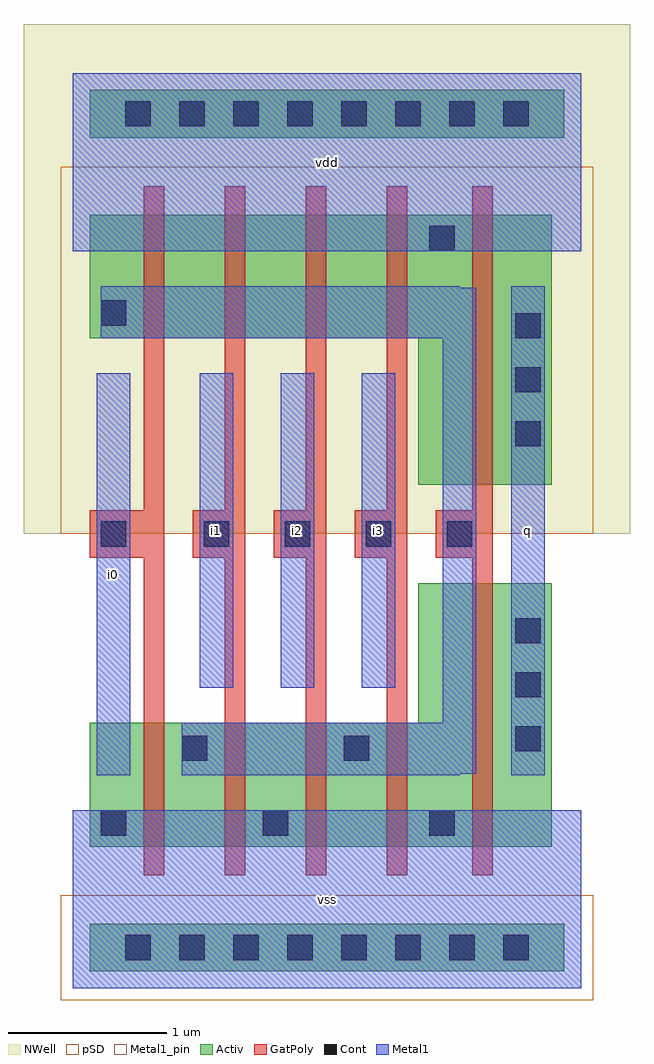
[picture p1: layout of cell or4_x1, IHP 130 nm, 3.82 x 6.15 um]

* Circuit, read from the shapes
.subckt or4_x1 i0 i1 i2 i3 q vdd vss
XM1 n1 i0 vss vss sg13_lv_nmos w=0.78u l=0.13u
XM2 vss i1 n1 vss sg13_lv_nmos w=0.78u l=0.13u
XM3 n1 i2 vss vss sg13_lv_nmos w=0.78u l=0.13u
XM4 vss i3 n1 vss sg13_lv_nmos w=0.78u l=0.13u
XM5 q n1 vss vss sg13_lv_nmos w=1.66u l=0.13u
XM6 n2 i0 n1 vdd sg13_lv_pmos w=0.78u l=0.13u
XM7 n3 i1 n2 vdd sg13_lv_pmos w=0.78u l=0.13u
XM8 n4 i2 n3 vdd sg13_lv_pmos w=0.78u l=0.13u
XM9 vdd i3 n4 vdd sg13_lv_pmos w=0.78u l=0.13u
XM10 q n1 vdd vdd sg13_lv_pmos w=1.7u l=0.13u
.ends

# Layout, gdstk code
import gdstk
lib = gdstk.Library(unit=1e-6, precision=1e-09)
def R(c, l, rs):  # rectangles x0, y0, x1, y1
    for r in rs: c.add(gdstk.rectangle(r[:2], r[2:], *l))
def A(c, l, x, y, w, h, nx, ny, dx, dy):  # array of equal rectangles
    R(c, l, [(x+i*dx, y+j*dy, x+i*dx+w, y+j*dy+h) for i in range(nx) for j in range(ny)])
def P(c, l, *ps):  # polygons
    for p in ps: c.add(gdstk.Polygon(p, *l))
Activ = (1, 0)
GatPoly = (5, 0)
Cont = (6, 0)
Metal1 = (8, 0)
Metal1_pin = (8, 2)
pSD = (14, 0)
NWell = (31, 0)

or4_x1 = lib.new_cell('or4_x1')
R(or4_x1, Activ, [(0.105,0.105,3.095,0.405), (0.105,5.355,3.095,5.655)])
P(or4_x1, Activ, [(0.105,0.89),(0.105,1.67),(2.175,1.67),(2.175,2.55),(3.015,2.55),(3.015,0.89)],
  [(2.175,3.17),(2.175,4.09),(0.105,4.09),(0.105,4.87),(3.015,4.87),(3.015,3.17)])
P(or4_x1, GatPoly, [(2.515,0.71),(2.515,2.71),(2.285,2.71),(2.285,3.01),(2.515,3.01),(2.515,5.05),(2.645,5.05),(2.645,0.71)],
  [(0.445,0.71),(0.445,2.71),(0.105,2.71),(0.105,3.01),(0.445,3.01),(0.445,5.05),(0.575,5.05),(0.575,0.71)],
  [(0.955,0.71),(0.955,2.71),(0.755,2.71),(0.755,3.01),(0.955,3.01),(0.955,5.05),(1.085,5.05),(1.085,0.71)],
  [(1.465,0.71),(1.465,2.71),(1.265,2.71),(1.265,3.01),(1.465,3.01),(1.465,5.05),(1.595,5.05),(1.595,0.71)],
  [(1.975,0.71),(1.975,2.71),(1.775,2.71),(1.775,3.01),(1.975,3.01),(1.975,5.05),(2.105,5.05),(2.105,0.71)])
A(or4_x1, Cont, 0.33, 0.175, 0.16, 0.16, 8, 2, 0.34, 5.25)
A(or4_x1, Cont, 2.785, 1.49, 0.16, 0.16, 1, 3, 0, 0.34)
A(or4_x1, Cont, 0.825, 2.78, 0.16, 0.16, 4, 1, 0.51, 0)
A(or4_x1, Cont, 2.785, 3.41, 0.16, 0.16, 1, 3, 0, 0.34)
R(or4_x1, Cont, [(0.175,0.96,0.335,1.12), (1.195,0.96,1.355,1.12), (2.245,0.96,2.405,1.12), (0.685,1.43,0.845,1.59), (1.705,1.43,1.865,1.59), (0.175,2.78,0.335,2.94), (0.175,4.17,0.335,4.33), (2.245,4.64,2.405,4.8)])
A(or4_x1, Metal1, 0.8, 1.89, 0.21, 1.98, 3, 1, 0.51, 0)
R(or4_x1, Metal1, [(0,0,3.2,1.12), (0.15,1.34,0.36,3.87), (2.76,1.34,2.97,4.42), (0,4.64,3.2,5.76)])
P(or4_x1, Metal1, [(0.685,1.34),(0.685,1.67),(2.33,1.67),(2.33,4.09),(0.175,4.09),(0.175,4.42),(2.435,4.42),(2.435,4.41),(2.54,4.41),(2.54,1.35),(2.435,1.35),(2.435,1.34)])
A(or4_x1, Metal1_pin, 0.8, 1.89, 0.21, 1.98, 3, 1, 0.51, 0)
R(or4_x1, Metal1_pin, [(0,0,3.2,1.12), (0.15,1.34,0.36,3.87), (2.76,1.34,2.97,4.42), (0,4.64,3.2,5.76)])
R(or4_x1, pSD, [(-0.075,-0.075,3.275,0.585), (-0.075,2.86,3.275,5.17)])
R(or4_x1, NWell, [(-0.31,2.86,3.51,6.07)])
or4_x1.add(gdstk.Label('vss', (1.6,0.56), layer=8, texttype=2))
or4_x1.add(gdstk.Label('vdd', (1.6,5.2), layer=8, texttype=2))
or4_x1.add(gdstk.Label('i0', (0.255,2.605), layer=8, texttype=2))
or4_x1.add(gdstk.Label('i1', (0.905,2.88), layer=8, texttype=2))
or4_x1.add(gdstk.Label('i2', (1.415,2.88), layer=8, texttype=2))
or4_x1.add(gdstk.Label('i3', (1.925,2.88), layer=8, texttype=2))
or4_x1.add(gdstk.Label('q', (2.865,2.88), layer=8, texttype=2))

lib.write_gds('or4_x1.gds')
